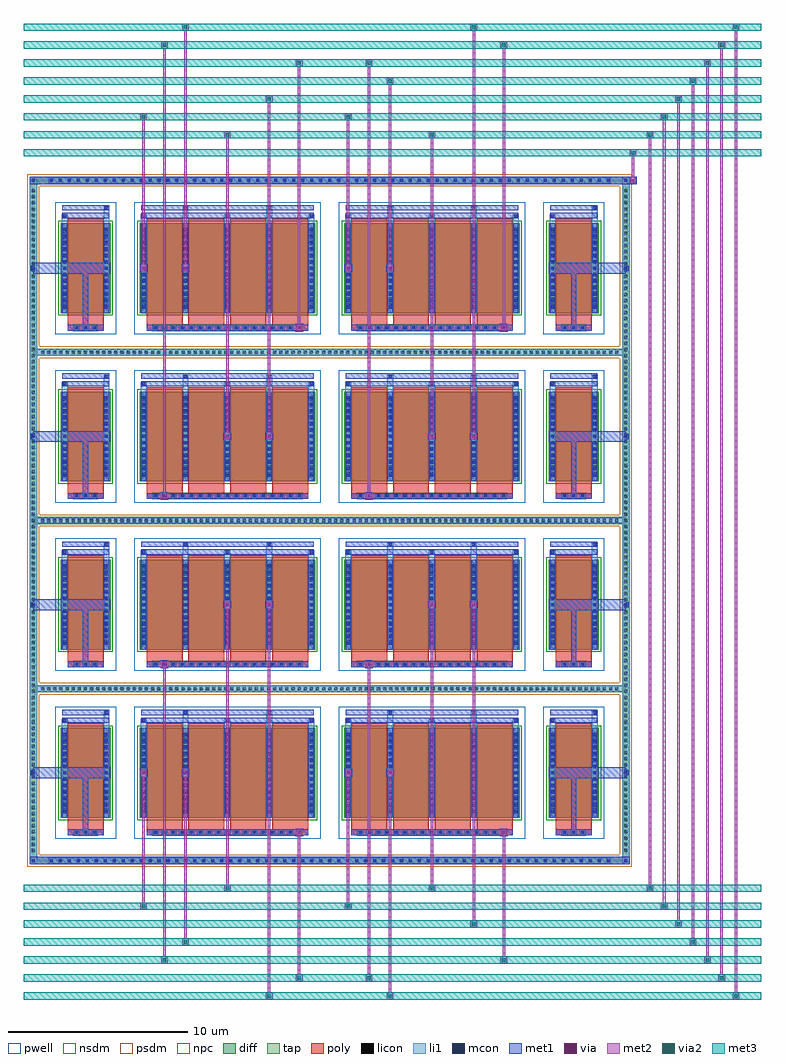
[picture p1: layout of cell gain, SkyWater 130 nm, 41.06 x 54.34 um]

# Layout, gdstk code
import gdstk
lib = gdstk.Library(unit=1e-6, precision=5e-09)
def R(c, l, rs):  # rectangles x0, y0, x1, y1
    for r in rs: c.add(gdstk.rectangle(r[:2], r[2:], *l))
def A(c, l, x, y, w, h, nx, ny, dx, dy):  # array of equal rectangles
    R(c, l, [(x+i*dx, y+j*dy, x+i*dx+w, y+j*dy+h) for i in range(nx) for j in range(ny)])
def P(c, l, *ps):  # polygons
    for p in ps: c.add(gdstk.Polygon(p, *l))
pwell = (64, 44)
diff = (65, 20)
tap = (65, 44)
poly = (66, 20)
licon = (66, 44)
li1 = (67, 20)
mcon = (67, 44)
met1 = (68, 20)
via = (68, 44)
met2 = (69, 20)
via2 = (69, 44)
met3 = (70, 20)
nsdm = (93, 44)
psdm = (94, 20)
npc = (95, 20)

unnamed_a68c4520 = lib.new_cell('Unnamed_a68c4520')
R(unnamed_a68c4520, pwell, [(-5.195,-3.68,5.195,3.685)])
R(unnamed_a68c4520, diff, [(-4.885,-2.5,4.885,2.5)])
A(unnamed_a68c4520, poly, -4.165, -3.48, 0.33, 0.33, 17, 1, 0.5, 0)
A(unnamed_a68c4520, poly, -4.495, -3.15, 2, 0.4, 4, 1, 2.33, 0)
A(unnamed_a68c4520, poly, -4.495, -2.75, 2, 5.5, 4, 1, 2.33, 0)
R(unnamed_a68c4520, poly, [(-4.495,-3.48,4.495,-3.15)])
A(unnamed_a68c4520, licon, -4.085, -3.4, 0.17, 0.17, 17, 1, 0.5, 0)
A(unnamed_a68c4520, licon, -4.745, -2.125, 0.17, 0.17, 5, 13, 2.33, 0.34)
A(unnamed_a68c4520, li1, -4.165, -3.48, 0.33, 0.33, 17, 1, 0.5, 0)
A(unnamed_a68c4520, li1, -4.825, -2.5, 0.33, 5, 5, 1, 2.33, 0)
A(unnamed_a68c4520, li1, -4.745, -2.245, 0.17, 0.17, 5, 13, 2.33, 0.36)
A(unnamed_a68c4520, li1, -4.745, -2.245, 0.17, 4.49, 5, 1, 2.33, 0)
A(unnamed_a68c4520, li1, -4.825, -2.205, 0.33, 0.33, 5, 13, 2.33, 0.34)
A(unnamed_a68c4520, li1, -4.825, 2.5, 0.33, 0.515, 3, 1, 4.66, 0)
A(unnamed_a68c4520, li1, -4.745, 2.845, 0.17, 0.17, 3, 1, 4.66, 0)
R(unnamed_a68c4520, li1, [(-2.495,2.5,-2.165,3.445), (2.165,2.5,2.495,3.445), (-2.415,3.275,-2.245,3.445), (2.245,3.275,2.415,3.445)])
A(unnamed_a68c4520, mcon, -4.085, -3.4, 0.17, 0.17, 17, 1, 0.5, 0)
A(unnamed_a68c4520, mcon, -4.745, -2.245, 0.17, 0.17, 5, 13, 2.33, 0.36)
A(unnamed_a68c4520, mcon, -4.745, 2.845, 0.17, 0.17, 3, 1, 4.66, 0)
R(unnamed_a68c4520, mcon, [(-2.415,3.275,-2.245,3.445), (2.245,3.275,2.415,3.445)])
A(unnamed_a68c4520, met1, -4.145, -3.46, 0.29, 0.29, 17, 1, 0.5, 0)
A(unnamed_a68c4520, met1, -4.805, -2.5, 0.29, 5, 5, 1, 2.33, 0)
A(unnamed_a68c4520, met1, -4.805, -2.305, 0.29, 0.29, 5, 13, 2.33, 0.36)
A(unnamed_a68c4520, met1, -4.805, 2.785, 0.29, 0.29, 3, 1, 4.66, 0)
R(unnamed_a68c4520, met1, [(-4.495,-3.48,4.495,-3.15), (-4.805,2.785,4.805,3.075), (-4.805,3.215,4.805,3.505), (-2.475,3.215,-2.185,3.505), (2.185,3.215,2.475,3.505)])
R(unnamed_a68c4520, nsdm, [(-5.015,-2.63,5.015,2.63)])
A(unnamed_a68c4520, npc, -4.185, -3.5, 0.37, 0.37, 17, 1, 0.5, 0)
R(unnamed_a68c4520, npc, [(-4.185,-3.5,-3.315,-3.13), (-4.185,-3.5,-3.315,-3.13), (-3.685,-3.5,-2.815,-3.13), (-3.685,-3.5,-2.815,-3.13), (-3.185,-3.5,-2.315,-3.13), (-3.185,-3.5,-2.315,-3.13), (-2.685,-3.5,-1.815,-3.13), (-2.685,-3.5,-1.815,-3.13), (-2.185,-3.5,-1.315,-3.13), (-2.185,-3.5,-1.315,-3.13), (-1.685,-3.5,-0.815,-3.13), (-1.685,-3.5,-0.815,-3.13), (-1.185,-3.5,-0.315,-3.13), (-1.185,-3.5,-0.315,-3.13), (-0.685,-3.5,0.185,-3.13), (-0.685,-3.5,0.185,-3.13), (-0.185,-3.5,0.685,-3.13), (-0.185,-3.5,0.685,-3.13), (0.315,-3.5,1.185,-3.13), (0.315,-3.5,1.185,-3.13), (0.815,-3.5,1.685,-3.13), (0.815,-3.5,1.685,-3.13), (1.315,-3.5,2.185,-3.13), (1.315,-3.5,2.185,-3.13), (1.815,-3.5,2.685,-3.13), (1.815,-3.5,2.685,-3.13), (2.315,-3.5,3.185,-3.13), (2.315,-3.5,3.185,-3.13), (2.815,-3.5,3.685,-3.13), (2.815,-3.5,3.685,-3.13), (3.315,-3.5,4.185,-3.13), (3.315,-3.5,4.185,-3.13)])

unnamed_d2b916be = lib.new_cell('Unnamed_d2b916be')
R(unnamed_d2b916be, pwell, [(-1.7,-3.68,1.7,3.685)])
R(unnamed_d2b916be, diff, [(-1.39,-2.5,1.39,2.5)])
A(unnamed_d2b916be, poly, -0.665, -3.48, 0.33, 0.33, 3, 1, 0.5, 0)
R(unnamed_d2b916be, poly, [(-1,-3.48,1,-3.15), (-1,-3.15,1,-2.75), (-1,-2.75,1,2.75)])
A(unnamed_d2b916be, licon, -0.585, -3.4, 0.17, 0.17, 3, 1, 0.5, 0)
A(unnamed_d2b916be, licon, -1.25, -2.125, 0.17, 0.17, 1, 13, 0, 0.34)
A(unnamed_d2b916be, licon, 1.08, -2.125, 0.17, 0.17, 1, 13, 0, 0.34)
A(unnamed_d2b916be, li1, -0.665, -3.48, 0.33, 0.33, 3, 1, 0.5, 0)
A(unnamed_d2b916be, li1, -1.25, -2.245, 0.17, 0.17, 1, 13, 0, 0.36)
A(unnamed_d2b916be, li1, 1.08, -2.245, 0.17, 0.17, 1, 13, 0, 0.36)
A(unnamed_d2b916be, li1, -1.33, -2.205, 0.33, 0.33, 1, 13, 0, 0.34)
A(unnamed_d2b916be, li1, 1, -2.205, 0.33, 0.33, 1, 13, 0, 0.34)
R(unnamed_d2b916be, li1, [(-1.33,-2.5,-1,2.5), (1,-2.5,1.33,2.5), (-1.25,-2.245,-1.08,2.245), (1.08,-2.245,1.25,2.245), (-1.33,2.5,-1,3.015), (1,2.5,1.33,3.445), (-1.25,2.845,-1.08,3.015), (1.08,3.275,1.25,3.445)])
A(unnamed_d2b916be, mcon, -0.585, -3.4, 0.17, 0.17, 3, 1, 0.5, 0)
A(unnamed_d2b916be, mcon, -1.25, -2.245, 0.17, 0.17, 1, 13, 0, 0.36)
A(unnamed_d2b916be, mcon, 1.08, -2.245, 0.17, 0.17, 1, 13, 0, 0.36)
R(unnamed_d2b916be, mcon, [(-1.25,2.845,-1.08,3.015), (1.08,3.275,1.25,3.445)])
A(unnamed_d2b916be, met1, -0.645, -3.46, 0.29, 0.29, 3, 1, 0.5, 0)
A(unnamed_d2b916be, met1, -1.31, -2.305, 0.29, 0.29, 1, 13, 0, 0.36)
A(unnamed_d2b916be, met1, 1.02, -2.305, 0.29, 0.29, 1, 13, 0, 0.36)
R(unnamed_d2b916be, met1, [(-1,-3.48,1,-3.15), (-1.31,-2.5,-1.02,2.5), (1.02,-2.5,1.31,2.5), (-1.31,2.785,-1.02,3.075), (-1.31,2.785,1.31,3.075), (-1.31,3.215,1.31,3.505), (1.02,3.215,1.31,3.505)])
R(unnamed_d2b916be, nsdm, [(-1.52,-2.63,1.52,2.63)])
A(unnamed_d2b916be, npc, -0.685, -3.5, 0.37, 0.37, 3, 1, 0.5, 0)
R(unnamed_d2b916be, npc, [(-0.685,-3.5,0.185,-3.13), (-0.685,-3.5,0.185,-3.13), (-0.185,-3.5,0.685,-3.13), (-0.185,-3.5,0.685,-3.13)])

unnamed_353098fd_1 = lib.new_cell('Unnamed_353098fd$1')
A(unnamed_353098fd_1, diff, -15.705, -19.14, 0.41, 0.41, 63, 2, 0.5, 37.87)
A(unnamed_353098fd_1, diff, -16.7, -18.565, 0.41, 0.41, 1, 109, 0, 0.34)
A(unnamed_353098fd_1, diff, 16.29, -18.565, 0.41, 0.41, 1, 109, 0, 0.34)
R(unnamed_353098fd_1, diff, [(-15.705,-19.14,15.705,-18.73), (-16.7,-18.565,-16.29,18.565), (16.29,-18.565,16.7,18.565), (-15.705,18.73,15.705,19.14)])
P(unnamed_353098fd_1, diff, [(16.7,19.14),(-16.7,19.14),(-16.7,-18.73),(-16.29,-18.73),(-16.29,18.73),(16.29,18.73),(16.29,-18.73),(-16.29,-18.73),(-16.7,-18.73),(-16.7,-19.14),(16.7,-19.14)])
A(unnamed_353098fd_1, licon, -15.585, -19.02, 0.17, 0.17, 63, 2, 0.5, 37.87)
A(unnamed_353098fd_1, licon, -16.58, -18.445, 0.17, 0.17, 1, 109, 0, 0.34)
A(unnamed_353098fd_1, licon, 16.41, -18.445, 0.17, 0.17, 1, 109, 0, 0.34)
A(unnamed_353098fd_1, li1, -15.665, -19.1, 0.33, 0.33, 63, 2, 0.5, 37.87)
A(unnamed_353098fd_1, li1, -16.66, -18.525, 0.33, 0.33, 1, 109, 0, 0.34)
A(unnamed_353098fd_1, li1, 16.33, -18.525, 0.33, 0.33, 1, 109, 0, 0.34)
R(unnamed_353098fd_1, li1, [(-16.7,-19.14,-16.29,-18.73), (16.29,-19.14,16.7,-18.73), (-15.665,-19.1,15.665,-18.77), (-16.58,-19.02,-16.41,-18.85), (-16.58,-19.02,-16.41,-18.85), (16.41,-19.02,16.58,-18.85), (16.41,-19.02,16.58,-18.85), (-16.7,-18.73,-16.29,18.73), (16.29,-18.73,16.7,18.73), (-16.7,18.73,-16.29,19.14), (16.29,18.73,16.7,19.14), (-15.665,18.77,15.665,19.1), (-16.58,18.85,-16.41,19.02), (-16.58,18.85,-16.41,19.02), (16.41,18.85,16.58,19.02), (16.41,18.85,16.58,19.02)])
A(unnamed_353098fd_1, mcon, -15.585, -19.02, 0.17, 0.17, 63, 2, 0.5, 37.87)
R(unnamed_353098fd_1, mcon, [(-16.58,-19.02,-16.41,-18.85), (16.41,-19.02,16.58,-18.85), (-16.58,18.85,-16.41,19.02), (16.41,18.85,16.58,19.02)])
A(unnamed_353098fd_1, met1, -15.645, -19.08, 0.29, 0.29, 63, 2, 0.5, 37.87)
R(unnamed_353098fd_1, met1, [(-16.7,-19.14,-16.29,-18.73), (-16.7,-19.14,-16.29,-18.73), (-16.29,-19.14,16.29,-18.73), (16.29,-19.14,16.7,-18.73), (16.29,-19.14,16.7,-18.73), (-16.64,-19.08,-16.35,-18.79), (16.35,-19.08,16.64,-18.79), (-16.7,18.73,-16.29,19.14), (-16.7,18.73,-16.29,19.14), (-16.29,18.73,16.29,19.14), (16.29,18.73,16.7,19.14), (16.29,18.73,16.7,19.14), (-16.64,18.79,-16.35,19.08), (16.35,18.79,16.64,19.08)])
P(unnamed_353098fd_1, psdm, [(16.83,19.27),(-16.83,19.27),(-16.83,-18.6),(-16.16,-18.6),(-16.16,18.6),(16.16,18.6),(16.16,-18.6),(-16.16,-18.6),(-16.83,-18.6),(-16.83,-19.27),(16.83,-19.27)])

via_stack_9ce972bd_32 = lib.new_cell('via_stack_9ce972bd$32')
R(via_stack_9ce972bd_32, li1, [(-0.085,-0.085,0.085,0.085)])
R(via_stack_9ce972bd_32, mcon, [(-0.085,-0.085,0.085,0.085)])
R(via_stack_9ce972bd_32, met1, [(-0.145,-0.145,0.145,0.145)])

via_stack_9ce972bd_33 = lib.new_cell('via_stack_9ce972bd$33')
R(via_stack_9ce972bd_33, li1, [(-0.085,-0.085,0.085,0.085)])
R(via_stack_9ce972bd_33, mcon, [(-0.085,-0.085,0.085,0.085)])
R(via_stack_9ce972bd_33, met1, [(-0.145,-0.145,0.145,0.145)])

via_stack_9ce972bd_34 = lib.new_cell('via_stack_9ce972bd$34')
R(via_stack_9ce972bd_34, li1, [(-0.085,-0.085,0.085,0.085)])
R(via_stack_9ce972bd_34, mcon, [(-0.085,-0.085,0.085,0.085)])
R(via_stack_9ce972bd_34, met1, [(-0.145,-0.145,0.145,0.145)])

via_stack_9ce972bd_35 = lib.new_cell('via_stack_9ce972bd$35')
R(via_stack_9ce972bd_35, li1, [(-0.085,-0.085,0.085,0.085)])
R(via_stack_9ce972bd_35, mcon, [(-0.085,-0.085,0.085,0.085)])
R(via_stack_9ce972bd_35, met1, [(-0.145,-0.145,0.145,0.145)])

via_stack_9ce972bd_36 = lib.new_cell('via_stack_9ce972bd$36')
R(via_stack_9ce972bd_36, li1, [(-0.085,-0.085,0.085,0.085)])
R(via_stack_9ce972bd_36, mcon, [(-0.085,-0.085,0.085,0.085)])
R(via_stack_9ce972bd_36, met1, [(-0.145,-0.145,0.145,0.145)])

via_stack_9ce972bd_37 = lib.new_cell('via_stack_9ce972bd$37')
R(via_stack_9ce972bd_37, li1, [(-0.085,-0.085,0.085,0.085)])
R(via_stack_9ce972bd_37, mcon, [(-0.085,-0.085,0.085,0.085)])
R(via_stack_9ce972bd_37, met1, [(-0.145,-0.145,0.145,0.145)])

via_stack_9ce972bd_38 = lib.new_cell('via_stack_9ce972bd$38')
R(via_stack_9ce972bd_38, li1, [(-0.085,-0.085,0.085,0.085)])
R(via_stack_9ce972bd_38, mcon, [(-0.085,-0.085,0.085,0.085)])
R(via_stack_9ce972bd_38, met1, [(-0.145,-0.145,0.145,0.145)])

via_stack_9ce972bd_39 = lib.new_cell('via_stack_9ce972bd$39')
R(via_stack_9ce972bd_39, li1, [(-0.085,-0.085,0.085,0.085)])
R(via_stack_9ce972bd_39, mcon, [(-0.085,-0.085,0.085,0.085)])
R(via_stack_9ce972bd_39, met1, [(-0.145,-0.145,0.145,0.145)])

via_stack_22ee024c_49 = lib.new_cell('via_stack_22ee024c$49')
R(via_stack_22ee024c_49, met1, [(-0.215,-0.215,0.215,0.215)])
R(via_stack_22ee024c_49, via, [(-0.075,-0.075,0.075,0.075)])
R(via_stack_22ee024c_49, met2, [(-0.165,-0.165,0.165,0.165)])

via_stack_22ee024c_50 = lib.new_cell('via_stack_22ee024c$50')
R(via_stack_22ee024c_50, met1, [(-0.215,-0.215,0.215,0.215)])
R(via_stack_22ee024c_50, via, [(-0.075,-0.075,0.075,0.075)])
R(via_stack_22ee024c_50, met2, [(-0.165,-0.165,0.165,0.165)])

via_stack_22ee024c_51 = lib.new_cell('via_stack_22ee024c$51')
R(via_stack_22ee024c_51, met1, [(-0.215,-0.215,0.215,0.215)])
R(via_stack_22ee024c_51, via, [(-0.075,-0.075,0.075,0.075)])
R(via_stack_22ee024c_51, met2, [(-0.165,-0.165,0.165,0.165)])

via_stack_22ee024c_52 = lib.new_cell('via_stack_22ee024c$52')
R(via_stack_22ee024c_52, met1, [(-0.215,-0.215,0.215,0.215)])
R(via_stack_22ee024c_52, via, [(-0.075,-0.075,0.075,0.075)])
R(via_stack_22ee024c_52, met2, [(-0.165,-0.165,0.165,0.165)])

via_stack_22ee024c_53 = lib.new_cell('via_stack_22ee024c$53')
R(via_stack_22ee024c_53, met1, [(-0.215,-0.215,0.215,0.215)])
R(via_stack_22ee024c_53, via, [(-0.075,-0.075,0.075,0.075)])
R(via_stack_22ee024c_53, met2, [(-0.165,-0.165,0.165,0.165)])

via_stack_22ee024c_54 = lib.new_cell('via_stack_22ee024c$54')
R(via_stack_22ee024c_54, met1, [(-0.215,-0.215,0.215,0.215)])
R(via_stack_22ee024c_54, via, [(-0.075,-0.075,0.075,0.075)])
R(via_stack_22ee024c_54, met2, [(-0.165,-0.165,0.165,0.165)])

via_stack_22ee024c_55 = lib.new_cell('via_stack_22ee024c$55')
R(via_stack_22ee024c_55, met1, [(-0.215,-0.215,0.215,0.215)])
R(via_stack_22ee024c_55, via, [(-0.075,-0.075,0.075,0.075)])
R(via_stack_22ee024c_55, met2, [(-0.165,-0.165,0.165,0.165)])

via_stack_22ee024c_56 = lib.new_cell('via_stack_22ee024c$56')
R(via_stack_22ee024c_56, met1, [(-0.215,-0.215,0.215,0.215)])
R(via_stack_22ee024c_56, via, [(-0.075,-0.075,0.075,0.075)])
R(via_stack_22ee024c_56, met2, [(-0.165,-0.165,0.165,0.165)])

via_stack_22ee024c_57 = lib.new_cell('via_stack_22ee024c$57')
R(via_stack_22ee024c_57, met1, [(-0.215,-0.215,0.215,0.215)])
R(via_stack_22ee024c_57, via, [(-0.075,-0.075,0.075,0.075)])
R(via_stack_22ee024c_57, met2, [(-0.165,-0.165,0.165,0.165)])

via_stack_22ee024c_58 = lib.new_cell('via_stack_22ee024c$58')
R(via_stack_22ee024c_58, met1, [(-0.215,-0.215,0.215,0.215)])
R(via_stack_22ee024c_58, via, [(-0.075,-0.075,0.075,0.075)])
R(via_stack_22ee024c_58, met2, [(-0.165,-0.165,0.165,0.165)])

via_stack_22ee024c_59 = lib.new_cell('via_stack_22ee024c$59')
R(via_stack_22ee024c_59, met1, [(-0.215,-0.215,0.215,0.215)])
R(via_stack_22ee024c_59, via, [(-0.075,-0.075,0.075,0.075)])
R(via_stack_22ee024c_59, met2, [(-0.165,-0.165,0.165,0.165)])

via_stack_22ee024c_60 = lib.new_cell('via_stack_22ee024c$60')
R(via_stack_22ee024c_60, met1, [(-0.215,-0.215,0.215,0.215)])
R(via_stack_22ee024c_60, via, [(-0.075,-0.075,0.075,0.075)])
R(via_stack_22ee024c_60, met2, [(-0.165,-0.165,0.165,0.165)])

via_stack_22ee024c_61 = lib.new_cell('via_stack_22ee024c$61')
R(via_stack_22ee024c_61, met1, [(-0.215,-0.215,0.215,0.215)])
R(via_stack_22ee024c_61, via, [(-0.075,-0.075,0.075,0.075)])
R(via_stack_22ee024c_61, met2, [(-0.165,-0.165,0.165,0.165)])

via_stack_22ee024c_62 = lib.new_cell('via_stack_22ee024c$62')
R(via_stack_22ee024c_62, met1, [(-0.215,-0.215,0.215,0.215)])
R(via_stack_22ee024c_62, via, [(-0.075,-0.075,0.075,0.075)])
R(via_stack_22ee024c_62, met2, [(-0.165,-0.165,0.165,0.165)])

via_stack_22ee024c_63 = lib.new_cell('via_stack_22ee024c$63')
R(via_stack_22ee024c_63, met1, [(-0.215,-0.215,0.215,0.215)])
R(via_stack_22ee024c_63, via, [(-0.075,-0.075,0.075,0.075)])
R(via_stack_22ee024c_63, met2, [(-0.165,-0.165,0.165,0.165)])

via_stack_22ee024c_64 = lib.new_cell('via_stack_22ee024c$64')
R(via_stack_22ee024c_64, met1, [(-0.215,-0.215,0.215,0.215)])
R(via_stack_22ee024c_64, via, [(-0.075,-0.075,0.075,0.075)])
R(via_stack_22ee024c_64, met2, [(-0.165,-0.165,0.165,0.165)])

via_stack_22ee024c_65 = lib.new_cell('via_stack_22ee024c$65')
R(via_stack_22ee024c_65, met1, [(-0.215,-0.215,0.215,0.215)])
R(via_stack_22ee024c_65, via, [(-0.075,-0.075,0.075,0.075)])
R(via_stack_22ee024c_65, met2, [(-0.165,-0.165,0.165,0.165)])

via_stack_22ee024c_66 = lib.new_cell('via_stack_22ee024c$66')
R(via_stack_22ee024c_66, met1, [(-0.215,-0.215,0.215,0.215)])
R(via_stack_22ee024c_66, via, [(-0.075,-0.075,0.075,0.075)])
R(via_stack_22ee024c_66, met2, [(-0.165,-0.165,0.165,0.165)])

via_stack_22ee024c_67 = lib.new_cell('via_stack_22ee024c$67')
R(via_stack_22ee024c_67, met1, [(-0.215,-0.215,0.215,0.215)])
R(via_stack_22ee024c_67, via, [(-0.075,-0.075,0.075,0.075)])
R(via_stack_22ee024c_67, met2, [(-0.165,-0.165,0.165,0.165)])

via_stack_22ee024c_68 = lib.new_cell('via_stack_22ee024c$68')
R(via_stack_22ee024c_68, met1, [(-0.215,-0.215,0.215,0.215)])
R(via_stack_22ee024c_68, via, [(-0.075,-0.075,0.075,0.075)])
R(via_stack_22ee024c_68, met2, [(-0.165,-0.165,0.165,0.165)])

via_stack_22ee024c_69 = lib.new_cell('via_stack_22ee024c$69')
R(via_stack_22ee024c_69, met1, [(-0.215,-0.215,0.215,0.215)])
R(via_stack_22ee024c_69, via, [(-0.075,-0.075,0.075,0.075)])
R(via_stack_22ee024c_69, met2, [(-0.165,-0.165,0.165,0.165)])

via_stack_22ee024c_70 = lib.new_cell('via_stack_22ee024c$70')
R(via_stack_22ee024c_70, met1, [(-0.215,-0.215,0.215,0.215)])
R(via_stack_22ee024c_70, via, [(-0.075,-0.075,0.075,0.075)])
R(via_stack_22ee024c_70, met2, [(-0.165,-0.165,0.165,0.165)])

via_stack_22ee024c_71 = lib.new_cell('via_stack_22ee024c$71')
R(via_stack_22ee024c_71, met1, [(-0.215,-0.215,0.215,0.215)])
R(via_stack_22ee024c_71, via, [(-0.075,-0.075,0.075,0.075)])
R(via_stack_22ee024c_71, met2, [(-0.165,-0.165,0.165,0.165)])

via_stack_22ee024c_72 = lib.new_cell('via_stack_22ee024c$72')
R(via_stack_22ee024c_72, met1, [(-0.215,-0.215,0.215,0.215)])
R(via_stack_22ee024c_72, via, [(-0.075,-0.075,0.075,0.075)])
R(via_stack_22ee024c_72, met2, [(-0.165,-0.165,0.165,0.165)])

via_stack_22ee024c_73 = lib.new_cell('via_stack_22ee024c$73')
R(via_stack_22ee024c_73, met1, [(-0.215,-0.215,0.215,0.215)])
R(via_stack_22ee024c_73, via, [(-0.075,-0.075,0.075,0.075)])
R(via_stack_22ee024c_73, met2, [(-0.165,-0.165,0.165,0.165)])

gain = lib.new_cell('gain')
A(gain, tap, -1.205, -27.3, 32.99, 0.41, 1, 3, 0, 9.365)
A(gain, licon, -0.775, -27.18, 0.17, 0.17, 95, 3, 0.34, 9.365)
A(gain, li1, -1.205, -27.26, 32.99, 0.33, 1, 3, 0, 9.365)
A(gain, met1, 1.55, -35.245, 0.3, 3.465, 1, 4, 0, 9.365)
A(gain, met1, 28.73, -35.245, 0.3, 3.465, 1, 4, 0, 9.365)
A(gain, met1, -1.205, -32.08, 4.27, 0.6, 1, 4, 0, 9.365)
A(gain, met1, 27.515, -32.08, 4.27, 0.6, 1, 4, 0, 9.365)
R(gain, met2, [(11.74,-44.385,12.11,-44.015), (18.47,-44.385,18.84,-44.015), (37.735,-44.385,38.105,-44.015), (11.855,-44.2,11.995,-22.415), (18.585,-44.2,18.725,-31.78), (37.85,-44.2,37.99,9.74), (13.41,-43.385,13.78,-43.015), (17.3,-43.385,17.67,-43.015), (36.935,-43.385,37.305,-43.015), (13.525,-43.2,13.665,-35.095), (17.415,-43.2,17.555,-25.73), (37.05,-43.2,37.19,8.74), (5.91,-42.385,6.28,-42.015), (24.8,-42.385,25.17,-42.015), (36.135,-42.385,36.505,-42.015), (6.025,-42.2,6.165,-25.73), (24.915,-42.2,25.055,-35.095), (36.25,-42.2,36.39,7.74), (7.08,-41.385,7.45,-41.015), (35.335,-41.385,35.705,-41.015), (7.195,-41.2,7.335,-31.78), (35.45,-41.2,35.59,6.74), (23.13,-40.385,23.5,-40.015), (34.535,-40.385,34.905,-40.015), (23.245,-40.2,23.385,-22.415), (34.65,-40.2,34.79,5.74), (4.75,-39.385,5.12,-39.015), (16.14,-39.385,16.51,-39.015), (33.735,-39.385,34.105,-39.015), (4.865,-39.2,5.005,-31.78), (16.255,-39.2,16.395,-31.78), (33.85,-39.2,33.99,4.74), (9.41,-38.385,9.78,-38.015), (20.8,-38.385,21.17,-38.015), (32.935,-38.385,33.305,-38.015), (9.525,-38.2,9.665,-22.415), (20.915,-38.2,21.055,-22.415), (33.05,-38.2,33.19,3.74), (6.025,-16.365,6.165,8.74), (17.415,-16.365,17.555,7.74), (9.525,-13.05,9.665,3.74), (11.855,-13.05,11.995,5.74), (20.915,-13.05,21.055,3.74), (23.245,-13.05,23.385,9.74), (13.525,-7,13.665,7.74), (24.915,-7,25.055,8.74), (4.865,-3.685,5.005,4.74), (7.195,-3.685,7.335,9.74), (16.255,-3.685,16.395,4.74), (18.585,-3.685,18.725,6.74), (32.11,1.205,32.25,2.74), (31.995,2.555,32.365,2.925), (9.41,3.555,9.78,3.925), (20.8,3.555,21.17,3.925), (32.935,3.555,33.305,3.925), (4.75,4.555,5.12,4.925), (16.14,4.555,16.51,4.925), (33.735,4.555,34.105,4.925), (11.74,5.555,12.11,5.925), (34.535,5.555,34.905,5.925), (18.47,6.555,18.84,6.925), (35.335,6.555,35.705,6.925), (13.41,7.555,13.78,7.925), (17.3,7.555,17.67,7.925), (36.135,7.555,36.505,7.925), (5.91,8.555,6.28,8.925), (24.8,8.555,25.17,8.925), (36.935,8.555,37.305,8.925), (7.08,9.555,7.45,9.925), (23.13,9.555,23.5,9.925), (37.735,9.555,38.105,9.925)])
R(gain, via2, [(11.825,-44.3,12.025,-44.1), (18.555,-44.3,18.755,-44.1), (37.82,-44.3,38.02,-44.1), (13.495,-43.3,13.695,-43.1), (17.385,-43.3,17.585,-43.1), (37.02,-43.3,37.22,-43.1), (5.995,-42.3,6.195,-42.1), (24.885,-42.3,25.085,-42.1), (36.22,-42.3,36.42,-42.1), (7.165,-41.3,7.365,-41.1), (35.42,-41.3,35.62,-41.1), (23.215,-40.3,23.415,-40.1), (34.62,-40.3,34.82,-40.1), (4.835,-39.3,5.035,-39.1), (16.225,-39.3,16.425,-39.1), (33.82,-39.3,34.02,-39.1), (9.495,-38.3,9.695,-38.1), (20.885,-38.3,21.085,-38.1), (33.02,-38.3,33.22,-38.1), (32.08,2.64,32.28,2.84), (9.495,3.64,9.695,3.84), (20.885,3.64,21.085,3.84), (33.02,3.64,33.22,3.84), (4.835,4.64,5.035,4.84), (16.225,4.64,16.425,4.84), (33.82,4.64,34.02,4.84), (11.825,5.64,12.025,5.84), (34.62,5.64,34.82,5.84), (18.555,6.64,18.755,6.84), (35.42,6.64,35.62,6.84), (13.495,7.64,13.695,7.84), (17.385,7.64,17.585,7.84), (36.22,7.64,36.42,7.84), (5.995,8.64,6.195,8.84), (24.885,8.64,25.085,8.84), (37.02,8.64,37.22,8.84), (7.165,9.64,7.365,9.84), (23.215,9.64,23.415,9.84), (37.82,9.64,38.02,9.84)])
A(gain, met3, -1.74, -44.4, 41.06, 0.4, 1, 7, 0, 1)
A(gain, met3, -1.74, 2.54, 41.06, 0.4, 1, 8, 0, 1)
R(gain, met3, [(11.725,-44.4,12.125,-44), (18.455,-44.4,18.855,-44), (37.72,-44.4,38.12,-44), (13.395,-43.4,13.795,-43), (17.285,-43.4,17.685,-43), (36.92,-43.4,37.32,-43), (5.895,-42.4,6.295,-42), (24.785,-42.4,25.185,-42), (36.12,-42.4,36.52,-42), (7.065,-41.4,7.465,-41), (35.32,-41.4,35.72,-41), (23.115,-40.4,23.515,-40), (34.52,-40.4,34.92,-40), (4.735,-39.4,5.135,-39), (16.125,-39.4,16.525,-39), (33.72,-39.4,34.12,-39), (9.395,-38.4,9.795,-38), (20.785,-38.4,21.185,-38), (32.92,-38.4,33.32,-38), (31.98,2.54,32.38,2.94), (9.395,3.54,9.795,3.94), (20.785,3.54,21.185,3.94), (32.92,3.54,33.32,3.94), (4.735,4.54,5.135,4.94), (16.125,4.54,16.525,4.94), (33.72,4.54,34.12,4.94), (11.725,5.54,12.125,5.94), (34.52,5.54,34.92,5.94), (18.455,6.54,18.855,6.94), (35.32,6.54,35.72,6.94), (13.395,7.54,13.795,7.94), (17.285,7.54,17.685,7.94), (36.12,7.54,36.52,7.94), (5.895,8.54,6.295,8.94), (24.785,8.54,25.185,8.94), (36.92,8.54,37.32,8.94), (7.065,9.54,7.465,9.94), (23.115,9.54,23.515,9.94), (37.72,9.54,38.12,9.94)])
A(gain, psdm, -1.205, -27.425, 32.99, 0.66, 1, 3, 0, 9.365)
gain.add(gdstk.Reference(unnamed_a68c4520, (9.595,-13.05)))
gain.add(gdstk.Reference(unnamed_a68c4520, (20.985,-22.415)))
gain.add(gdstk.Reference(unnamed_a68c4520, (20.985,-13.05)))
gain.add(gdstk.Reference(unnamed_a68c4520, (9.595,-22.415)))
gain.add(gdstk.Reference(unnamed_a68c4520, (9.595,-3.685)))
gain.add(gdstk.Reference(unnamed_a68c4520, (20.985,-31.78)))
gain.add(gdstk.Reference(unnamed_a68c4520, (20.985,-3.685)))
gain.add(gdstk.Reference(unnamed_a68c4520, (9.595,-31.78)))
gain.add(gdstk.Reference(unnamed_d2b916be, (1.7,-3.685)))
gain.add(gdstk.Reference(unnamed_d2b916be, (28.88,-3.685)))
gain.add(gdstk.Reference(unnamed_d2b916be, (1.7,-13.05)))
gain.add(gdstk.Reference(unnamed_d2b916be, (28.88,-13.05)))
gain.add(gdstk.Reference(unnamed_d2b916be, (1.7,-22.415)))
gain.add(gdstk.Reference(unnamed_d2b916be, (28.88,-22.415)))
gain.add(gdstk.Reference(unnamed_d2b916be, (1.7,-31.78)))
gain.add(gdstk.Reference(unnamed_d2b916be, (28.88,-31.78)))
gain.add(gdstk.Reference(unnamed_353098fd_1, (15.29,-17.73)))
gain.add(gdstk.Reference(via_stack_9ce972bd_32, (-1.205,-3.685)))
gain.add(gdstk.Reference(via_stack_9ce972bd_33, (31.785,-3.685)))
gain.add(gdstk.Reference(via_stack_9ce972bd_34, (-1.205,-13.05)))
gain.add(gdstk.Reference(via_stack_9ce972bd_35, (31.785,-13.05)))
gain.add(gdstk.Reference(via_stack_9ce972bd_36, (-1.205,-22.415)))
gain.add(gdstk.Reference(via_stack_9ce972bd_37, (31.785,-22.415)))
gain.add(gdstk.Reference(via_stack_9ce972bd_38, (-1.205,-31.78)))
gain.add(gdstk.Reference(via_stack_9ce972bd_39, (31.785,-31.78)))
gain.add(gdstk.Reference(via_stack_22ee024c_49, (7.265,-3.685)))
gain.add(gdstk.Reference(via_stack_22ee024c_50, (4.935,-3.685)))
gain.add(gdstk.Reference(via_stack_22ee024c_51, (13.595,-7)))
gain.add(gdstk.Reference(via_stack_22ee024c_52, (11.925,-13.05)))
gain.add(gdstk.Reference(via_stack_22ee024c_53, (9.595,-13.05)))
gain.add(gdstk.Reference(via_stack_22ee024c_54, (6.095,-16.365)))
gain.add(gdstk.Reference(via_stack_22ee024c_55, (7.265,-31.78)))
gain.add(gdstk.Reference(via_stack_22ee024c_56, (4.935,-31.78)))
gain.add(gdstk.Reference(via_stack_22ee024c_57, (13.595,-35.095)))
gain.add(gdstk.Reference(via_stack_22ee024c_58, (11.925,-22.415)))
gain.add(gdstk.Reference(via_stack_22ee024c_59, (9.595,-22.415)))
gain.add(gdstk.Reference(via_stack_22ee024c_60, (6.095,-25.73)))
gain.add(gdstk.Reference(via_stack_22ee024c_61, (18.655,-3.685)))
gain.add(gdstk.Reference(via_stack_22ee024c_62, (16.325,-3.685)))
gain.add(gdstk.Reference(via_stack_22ee024c_63, (24.985,-7)))
gain.add(gdstk.Reference(via_stack_22ee024c_64, (23.315,-13.05)))
gain.add(gdstk.Reference(via_stack_22ee024c_65, (20.985,-13.05)))
gain.add(gdstk.Reference(via_stack_22ee024c_66, (17.485,-16.365)))
gain.add(gdstk.Reference(via_stack_22ee024c_67, (18.655,-31.78)))
gain.add(gdstk.Reference(via_stack_22ee024c_68, (16.325,-31.78)))
gain.add(gdstk.Reference(via_stack_22ee024c_69, (24.985,-35.095)))
gain.add(gdstk.Reference(via_stack_22ee024c_70, (23.315,-22.415)))
gain.add(gdstk.Reference(via_stack_22ee024c_71, (20.985,-22.415)))
gain.add(gdstk.Reference(via_stack_22ee024c_72, (17.485,-25.73)))
gain.add(gdstk.Reference(via_stack_22ee024c_73, (32.18,1.205)))

lib.write_gds('gain.gds')
